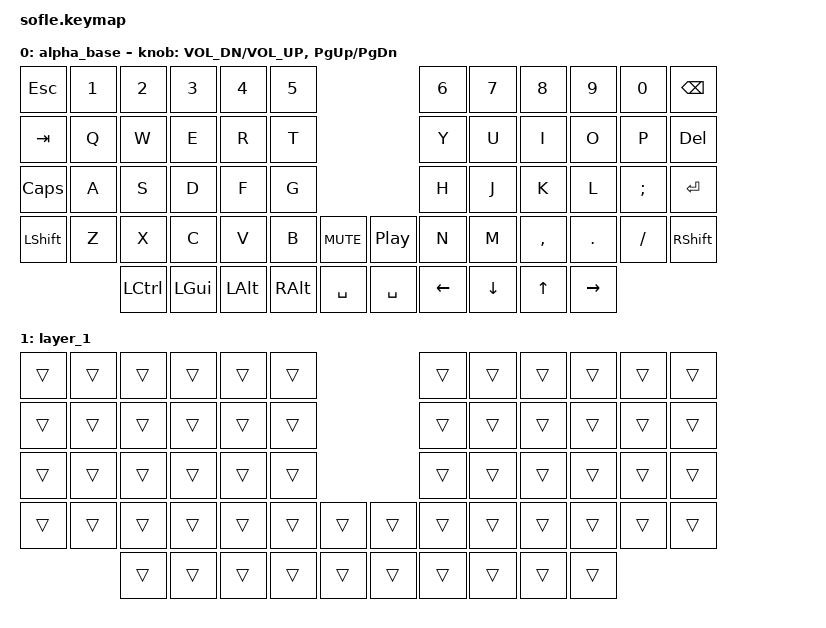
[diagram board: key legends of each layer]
/*
 * Copyright (c) 2020 The ZMK Contributors
 *
 * SPDX-License-Identifier: MIT
 */

#include <behaviors.dtsi>
#include <dt-bindings/zmk/keys.h>

/ {
    keymap {
        compatible = "zmk,keymap";

        alpha_base {
            // ------------------------------------------------------------------------------------------------------------
            // |  ESC  |  1     |  2  |  3   |  4   |  5   |                   |  6   |  7    |  8    |  9   |   0   | BSPC  |
            // |  LBKT |  Q     |  W  |  E   |  R   |  T   |                   |  Y   |  U    |  I    |  O   |   P   | RBKT  |
            // |  TAB  |  A     |  S  |  D   |  F   |  G   |                   |  H   |  J    |  K    |  L   |   ;   |   '   |
            // | SHIFT |  BSLH  |  Z  |  X   |  C   |  V   |  MUTE  |  | PLAY  |  B   |  N    |  M    |  ,   |   .   | /  |
            //                  | GUI | ALT  | CTRL | LOWER|  ENTER |  | SPACE | RAISE| CTRL  | ALT   | GUI  |

            bindings = <
&kp ESC       &kp N1  &kp N2     &kp N3        &kp N4        &kp N5                                &kp N6          &kp N7          &kp N8        &kp N9           &kp N0     &kp BSPC
&kp TAB       &kp Q   &kp W      &kp E         &kp R         &kp T                                 &kp Y           &kp U           &kp I         &kp O            &kp P      &kp DELETE
&kp CAPSLOCK  &kp A   &kp S      &kp D         &kp F         &kp G                                 &kp H           &kp J           &kp K         &kp L            &kp SEMI   &kp RET
&kp LSHIFT    &kp Z   &kp X      &kp C         &kp V         &kp B          &kp C_MUTE  &kp C_PP   &kp N           &kp M           &kp COMMA     &kp PERIOD       &kp SLASH  &kp RIGHT_SHIFT
                      &kp LCTRL  &kp LEFT_GUI  &kp LEFT_ALT  &kp RIGHT_ALT  &kp SPACE   &kp SPACE  &kp LEFT_ARROW  &kp DOWN_ARROW  &kp UP_ARROW  &kp RIGHT_ARROW
            >;

            sensor-bindings = <&inc_dec_kp C_VOL_DN C_VOL_UP &inc_dec_kp PG_UP PG_DN>;
            label = "alpha_base";
        };

        layer_1 {
            bindings = <
&trans  &trans  &trans  &trans  &trans  &trans                  &trans  &trans  &trans  &trans  &trans  &trans
&trans  &trans  &trans  &trans  &trans  &trans                  &trans  &trans  &trans  &trans  &trans  &trans
&trans  &trans  &trans  &trans  &trans  &trans                  &trans  &trans  &trans  &trans  &trans  &trans
&trans  &trans  &trans  &trans  &trans  &trans  &trans  &trans  &trans  &trans  &trans  &trans  &trans  &trans
                &trans  &trans  &trans  &trans  &trans  &trans  &trans  &trans  &trans  &trans
            >;
        };
    };
};
